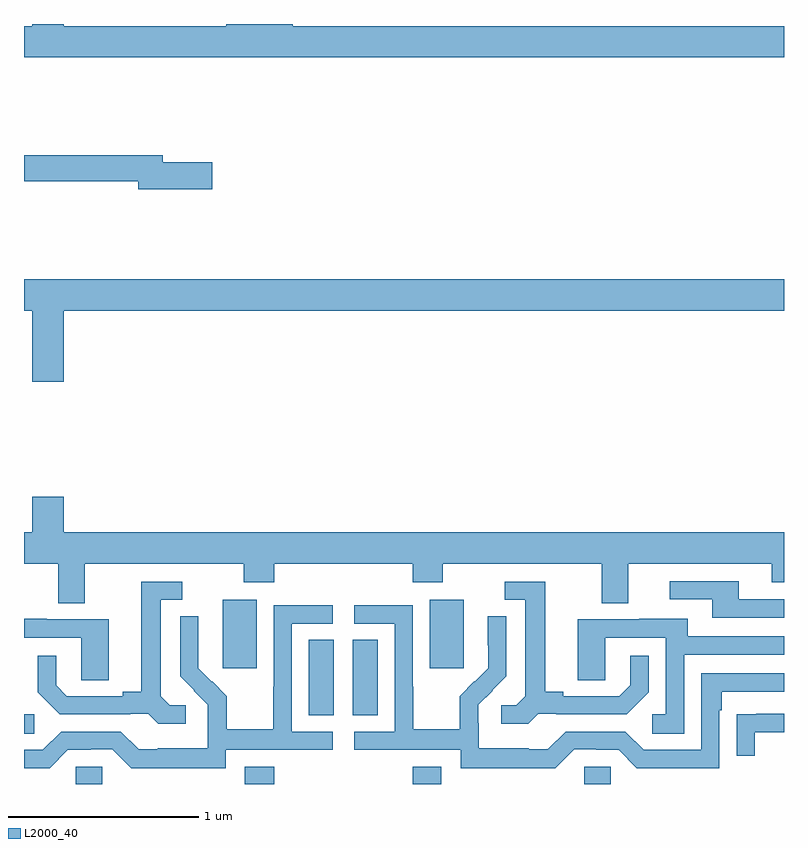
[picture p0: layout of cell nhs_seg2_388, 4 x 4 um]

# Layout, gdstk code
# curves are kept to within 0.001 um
import gdstk
lib = gdstk.Library(unit=1e-6, precision=1e-09)
def R(c, l, rs):  # rectangles x0, y0, x1, y1
    for r in rs: c.add(gdstk.rectangle(r[:2], r[2:], *l))
def P(c, l, *ps):  # polygons
    for p in ps: c.add(gdstk.Polygon(p, *l))
L2000_40 = (2000, 40)

nhs_seg2_388 = lib.new_cell('nhs_seg2_388')
R(nhs_seg2_388, L2000_40, [(129.273,655.8,129.411,655.89), (130.163,655.8,130.316,655.891), (131.045,655.8,131.197,655.891), (131.949,655.8,132.087,655.89), (129,656.065,129.055,656.166), (130.499,656.161,130.63,656.558), (130.73,656.161,130.861,656.558), (130.046,656.409,130.225,656.77), (131.135,656.409,131.314,656.77)])
P(nhs_seg2_388, L2000_40, [(133,659.788),(130.414,659.788),(130.414,659.8),(130.064,659.8),(130.064,659.788),(129.208,659.788),(129.208,659.8),(129.044,659.8),(129.044,659.788),(129,659.788),(129,659.624),(133,659.624)],
  [(129.991,659.072),(129.73,659.072),(129.73,659.108),(129,659.108),(129,658.972),(129.602,658.972),(129.602,658.93),(129.991,658.93)],
  [(129.208,658.292),(133,658.292),(133,658.456),(129,658.456),(129,658.292),(129.044,658.292),(129.044,657.918),(129.208,657.918)],
  [(129.319,656.96),(130.156,656.96),(130.156,656.861),(130.316,656.861),(130.316,656.96),(131.045,656.96),(131.045,656.861),(131.205,656.861),(131.205,656.96),(132.041,656.96),(132.041,656.752),(132.181,656.752),(132.181,656.96),(132.935,656.96),(132.935,656.861),(133,656.861),(133,657.124),(129.208,657.124),(129.208,657.313),(129.044,657.313),(129.044,657.124),(129,657.124),(129,656.96),(129.179,656.96),(129.179,656.752),(129.319,656.752)],
  [(133,656.772),(132.763,656.772),(132.763,656.868),(132.399,656.868),(132.399,656.772),(132.623,656.772),(132.623,656.676),(133,656.676)],
  [(131.706,656.169),(131.8,656.169),(131.8,656.166),(132.172,656.166),(132.288,656.282),(132.288,656.476),(132.191,656.476),(132.191,656.319),(132.134,656.262),(131.839,656.262),(131.839,656.285),(131.743,656.285),(131.743,656.865),(131.529,656.865),(131.529,656.769),(131.639,656.769),(131.639,656.261),(131.592,656.214),(131.511,656.214),(131.511,656.117),(131.654,656.117)],
  [(129.85,656.214),(129.768,656.214),(129.721,656.261),(129.721,656.769),(129.832,656.769),(129.832,656.865),(129.617,656.865),(129.617,656.285),(129.521,656.285),(129.521,656.262),(129.226,656.262),(129.169,656.319),(129.169,656.476),(129.072,656.476),(129.072,656.282),(129.188,656.166),(129.56,656.166),(129.56,656.169),(129.654,656.169),(129.706,656.117),(129.85,656.117)],
  [(130.062,655.98),(130.624,655.98),(130.624,656.076),(130.41,656.076),(130.41,656.643),(130.624,656.643),(130.624,656.742),(130.314,656.742),(130.314,656.312),(130.312,656.312),(130.312,656.089),(130.067,656.089),(130.067,656.263),(129.99,656.34),(129.987,656.337),(129.917,656.408),(129.918,656.684),(129.822,656.684),(129.822,656.366),(129.968,656.218),(129.968,656.121),(129.966,656.121),(129.966,655.987),(129.703,655.987),(129.703,655.983),(129.603,655.983),(129.51,656.076),(129.195,656.076),(129.099,655.98),(129,655.98),(129,655.884),(129.135,655.884),(129.231,655.98),(129.35,655.98),(129.35,655.983),(129.465,655.983),(129.565,655.883),(130.062,655.883)],
  [(131.895,655.983),(132.011,655.983),(132.011,655.98),(132.129,655.98),(132.225,655.884),(132.66,655.884),(132.66,656.189),(132.673,656.189),(132.673,656.286),(133,656.286),(133,656.382),(132.564,656.382),(132.564,655.98),(132.261,655.98),(132.165,656.076),(131.85,656.076),(131.757,655.983),(131.657,655.983),(131.657,655.987),(131.394,655.987),(131.394,656.121),(131.392,656.121),(131.392,656.218),(131.538,656.366),(131.538,656.684),(131.442,656.684),(131.442,656.53),(131.444,656.53),(131.444,656.408),(131.373,656.337),(131.37,656.34),(131.293,656.263),(131.293,656.089),(131.049,656.089),(131.049,656.312),(131.046,656.312),(131.046,656.742),(130.737,656.742),(130.737,656.643),(130.95,656.643),(130.95,656.076),(130.737,656.076),(130.737,655.98),(131.298,655.98),(131.298,655.883),(131.795,655.883)],
  [(129.445,656.667),(129.121,656.667),(129.121,656.671),(129,656.671),(129,656.571),(129.3,656.571),(129.3,656.347),(129.445,656.347)],
  [(132.474,656.481),(133,656.481),(133,656.577),(132.493,656.577),(132.493,656.671),(132.239,656.671),(132.239,656.667),(131.915,656.667),(131.915,656.347),(132.06,656.347),(132.06,656.571),(132.378,656.571),(132.378,656.166),(132.306,656.166),(132.306,656.065),(132.474,656.065)],
  [(132.847,656.073),(133,656.073),(133,656.169),(132.853,656.169),(132.853,656.168),(132.751,656.168),(132.751,655.95),(132.847,655.95)])

lib.write_gds('nhs_seg2_388.gds')
